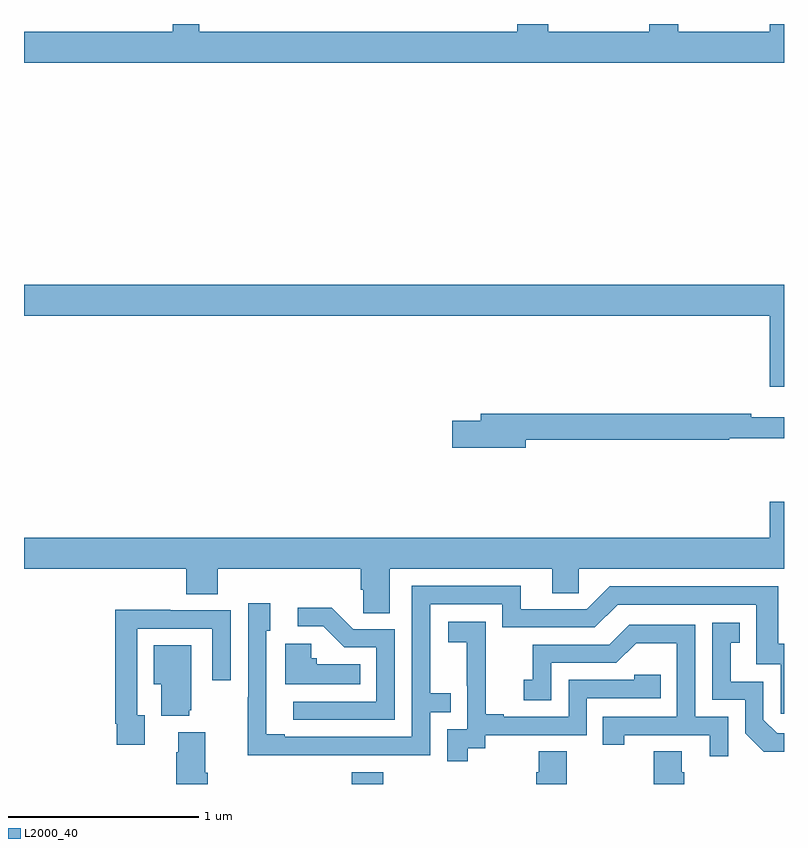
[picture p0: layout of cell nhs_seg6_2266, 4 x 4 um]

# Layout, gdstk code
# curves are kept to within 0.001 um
import gdstk
lib = gdstk.Library(unit=1e-6, precision=1e-09)
def R(c, l, rs):  # rectangles x0, y0, x1, y1
    for r in rs: c.add(gdstk.rectangle(r[:2], r[2:], *l))
def P(c, l, *ps):  # polygons
    for p in ps: c.add(gdstk.Polygon(p, *l))
L2000_40 = (2000, 40)

nhs_seg6_2266 = lib.new_cell('nhs_seg6_2266')
R(nhs_seg6_2266, L2000_40, [(246.725,983.5,246.89,983.563)])
P(nhs_seg6_2266, L2000_40, [(249,987.5),(248.924,987.5),(248.924,987.46),(248.443,987.46),(248.443,987.5),(248.291,987.5),(248.291,987.46),(247.76,987.46),(247.76,987.5),(247.595,987.5),(247.595,987.46),(245.922,987.46),(245.922,987.5),(245.783,987.5),(245.783,987.46),(245,987.46),(245,987.296),(249,987.296)],
  [(249,986.128),(245,986.128),(245,985.964),(248.924,985.964),(248.924,985.59),(249,985.59)],
  [(247.642,985.312),(248.711,985.312),(248.711,985.32),(249,985.32),(249,985.429),(248.828,985.429),(248.828,985.448),(247.403,985.448),(247.403,985.412),(247.254,985.412),(247.254,985.27),(247.642,985.27)],
  [(246.925,984.632),(247.781,984.632),(247.781,984.505),(247.92,984.505),(247.92,984.632),(249,984.632),(249,984.985),(248.924,984.985),(248.924,984.796),(245,984.796),(245,984.632),(245.855,984.632),(245.855,984.499),(246.02,984.499),(246.02,984.632),(246.773,984.632),(246.773,984.523),(246.786,984.523),(246.786,984.4),(246.925,984.4)],
  [(246.641,983.652),(247.137,983.652),(247.137,983.877),(247.247,983.877),(247.247,983.978),(247.137,983.978),(247.137,984.447),(247.518,984.447),(247.518,984.324),(248.004,984.324),(248.124,984.444),(248.853,984.444),(248.853,984.129),(248.982,984.129),(248.982,983.871),(249,983.871),(249,984.238),(248.969,984.238),(248.969,984.54),(248.082,984.54),(247.962,984.42),(247.615,984.42),(247.615,984.543),(247.041,984.543),(247.041,983.748),(246.373,983.748),(246.373,983.761),(246.276,983.761),(246.276,984.306),(246.295,984.306),(246.295,984.451),(246.18,984.451),(246.18,983.957),(246.178,983.957),(246.178,983.651)],
  [(246.951,984.315),(246.732,984.315),(246.619,984.428),(246.441,984.428),(246.441,984.33),(246.575,984.33),(246.686,984.219),(246.855,984.219),(246.855,983.934),(246.417,983.934),(246.417,983.838),(246.951,983.838)],
  [(245.635,983.862),(245.595,983.862),(245.595,984.318),(245.991,984.318),(245.991,984.045),(246.087,984.045),(246.087,984.414),(245.771,984.414),(245.771,984.416),(245.479,984.416),(245.479,983.818),(245.487,983.818),(245.487,983.706),(245.635,983.706)],
  [(247.336,983.689),(247.428,983.689),(247.428,983.757),(247.962,983.757),(247.962,983.952),(248.351,983.952),(248.351,984.075),(248.211,984.075),(248.211,984.048),(247.866,984.048),(247.866,983.853),(247.525,983.853),(247.525,983.866),(247.43,983.866),(247.43,984.149),(247.431,984.149),(247.431,984.355),(247.233,984.355),(247.233,984.245),(247.331,984.245),(247.331,984.017),(247.332,984.017),(247.332,983.787),(247.227,983.787),(247.227,983.619),(247.336,983.619)],
  [(249,983.766),(248.964,983.766),(248.892,983.838),(248.892,984.039),(248.719,984.039),(248.719,984.243),(248.768,984.243),(248.768,984.349),(248.622,984.349),(248.622,983.943),(248.796,983.943),(248.796,983.766),(248.894,983.669),(249,983.669)],
  [(248.706,983.853),(248.532,983.853),(248.532,984.339),(248.186,984.339),(248.081,984.234),(247.678,984.234),(247.678,984.049),(247.629,984.049),(247.629,983.94),(247.776,983.94),(247.776,984.138),(248.118,984.138),(248.222,984.242),(248.436,984.242),(248.436,983.853),(248.047,983.853),(248.047,983.706),(248.158,983.706),(248.158,983.757),(248.609,983.757),(248.609,983.646),(248.706,983.646)],
  [(246.77,984.13),(246.54,984.13),(246.54,984.162),(246.513,984.162),(246.513,984.238),(246.374,984.238),(246.374,984.026),(246.77,984.026)],
  [(245.87,983.889),(245.881,983.889),(245.881,984.229),(245.684,984.229),(245.684,984.026),(245.723,984.026),(245.723,983.858),(245.87,983.858)],
  [(245.966,983.56),(245.953,983.56),(245.953,983.773),(245.813,983.773),(245.813,983.666),(245.801,983.666),(245.801,983.5),(245.966,983.5)],
  [(248.474,983.562),(248.461,983.562),(248.461,983.672),(248.314,983.672),(248.314,983.5),(248.474,983.5)],
  [(247.857,983.672),(247.709,983.672),(247.709,983.562),(247.697,983.562),(247.697,983.5),(247.857,983.5)])

lib.write_gds('nhs_seg6_2266.gds')
